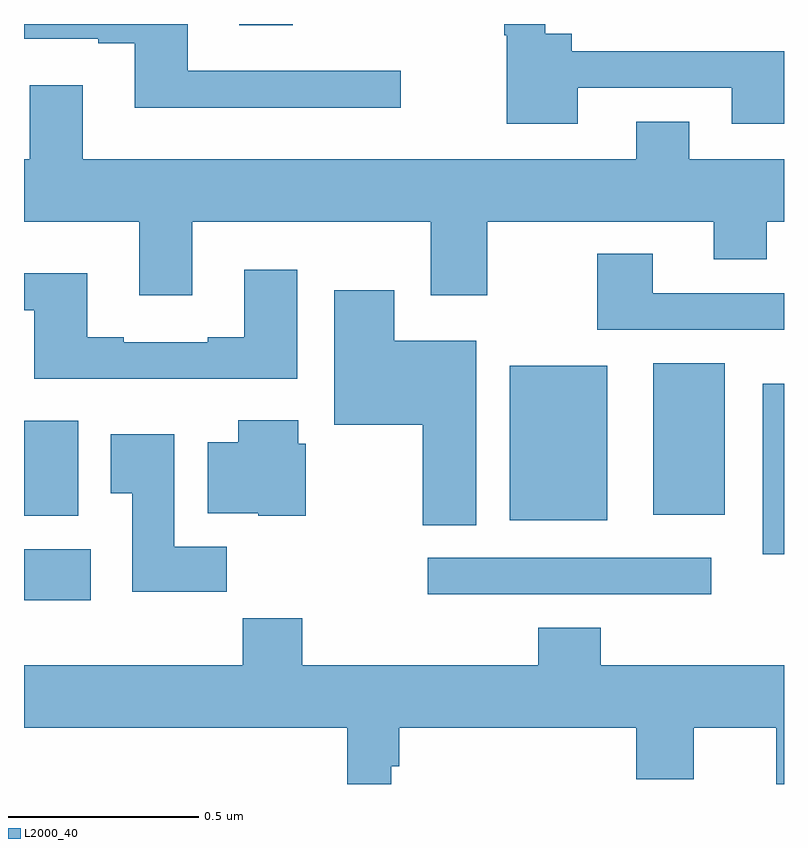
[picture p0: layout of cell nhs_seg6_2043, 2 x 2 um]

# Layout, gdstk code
import gdstk
lib = gdstk.Library(unit=1e-6, precision=1e-09)
def R(c, l, rs):  # rectangles x0, y0, x1, y1
    for r in rs: c.add(gdstk.rectangle(r[:2], r[2:], *l))
def P(c, l, *ps):  # polygons
    for p in ps: c.add(gdstk.Polygon(p, *l))
L2000_40 = (2000, 40)

nhs_seg6_2043 = lib.new_cell('nhs_seg6_2043')
R(nhs_seg6_2043, L2000_40, [(137,968.984,137.176,969.118), (138.063,969,138.808,969.096), (138.944,969.105,139,969.553), (138.278,969.194,138.535,969.601), (137,969.206,137.143,969.456), (138.656,969.209,138.844,969.607), (137.567,970.497,137.707,970.5)])
P(nhs_seg6_2043, L2000_40, [(137.992,970.377),(137.431,970.377),(137.431,970.5),(137,970.5),(137,970.461),(137.195,970.461),(137.195,970.449),(137.291,970.449),(137.291,970.28),(137.992,970.28)],
  [(138.457,970.332),(138.863,970.332),(138.863,970.238),(139,970.238),(139,970.428),(138.442,970.428),(138.442,970.474),(138.372,970.474),(138.372,970.5),(138.264,970.5),(138.264,970.47),(138.271,970.47),(138.271,970.238),(138.457,970.238)],
  [(137.443,969.98),(138.071,969.98),(138.071,969.786),(138.219,969.786),(138.219,969.98),(138.815,969.98),(138.815,969.881),(138.955,969.881),(138.955,969.98),(139,969.98),(139,970.144),(138.751,970.144),(138.751,970.243),(138.611,970.243),(138.611,970.144),(137.155,970.144),(137.155,970.339),(137.015,970.339),(137.015,970.144),(137,970.144),(137,969.98),(137.303,969.98),(137.303,969.786),(137.443,969.786)],
  [(139,969.792),(138.655,969.792),(138.655,969.895),(138.508,969.895),(138.508,969.696),(139,969.696)],
  [(137.719,969.853),(137.579,969.853),(137.579,969.676),(137.483,969.676),(137.483,969.663),(137.263,969.663),(137.263,969.676),(137.167,969.676),(137.167,969.844),(137,969.844),(137,969.747),(137.027,969.747),(137.027,969.566),(137.719,969.566)],
  [(138.19,969.667),(137.974,969.667),(137.974,969.799),(137.816,969.799),(137.816,969.446),(138.049,969.446),(138.049,969.181),(138.19,969.181)],
  [(137.742,969.396),(137.722,969.396),(137.722,969.457),(137.564,969.457),(137.564,969.4),(137.483,969.4),(137.483,969.212),(137.616,969.212),(137.616,969.206),(137.742,969.206)],
  [(137.534,969.124),(137.395,969.124),(137.395,969.421),(137.228,969.421),(137.228,969.265),(137.285,969.265),(137.285,969.006),(137.534,969.006)],
  [(137.967,968.547),(137.987,968.547),(137.987,968.648),(138.611,968.648),(138.611,968.512),(138.763,968.512),(138.763,968.648),(138.98,968.648),(138.98,968.5),(139,968.5),(139,968.812),(138.518,968.812),(138.518,968.911),(138.353,968.911),(138.353,968.812),(137.732,968.812),(137.732,968.936),(137.575,968.936),(137.575,968.812),(137,968.812),(137,968.648),(137.851,968.648),(137.851,968.5),(137.967,968.5)])

lib.write_gds('nhs_seg6_2043.gds')
